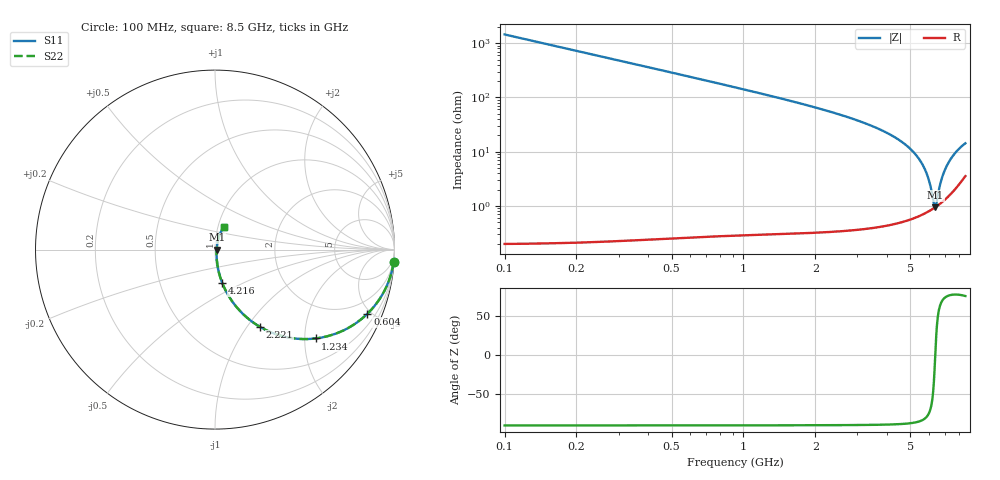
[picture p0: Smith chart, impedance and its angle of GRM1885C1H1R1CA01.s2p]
!Murata Part Number: GRM1885C1H1R1CA01
!These Parameters are Measured in Series Mode Connection
!Data Generated on Mar 30, 2021
!  o--ll--o
!Port1  Port2
!  o------o
!Operation Temp=25[degC], DC Bias Voltage=0[V]
!Freq. Start=100[MHz] Stop=9[GHz] 401[Steps]
# Hz S RI R 50
!Freq.(Hz) S11(Real) S11(Imag) S21(Real) S21(Imag) S12(Real) S12(Imag) S22(Real) S22(Imag)
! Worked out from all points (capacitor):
!   401 points, 100 MHz to 8.5 GHz, reference 50 ohm
!   read as one part in series: C = 1.1 pF near 142 MHz
!   lowest |Z| = 947 mohm at 6.358 GHz (marker M1)
!   series resonance near 6.356 GHz, so ESL is about 570 pH
!   S11 on the Smith chart (normalised r, x): 100 MHz: 1, -29; 604 MHz: 1.01, -4.75; 1.234 GHz: 1.01, -2.26; 2.221 GHz: 1.01, -1.15; 4.216 GHz: 1.01, -0.39; 8.5 GHz: 1.07, +0.28
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1e8  0.9952 -0.0688  0.00477 0.0688  0.00477 0.0688  0.9952 -0.0688
2.05e8  0.9802 -0.139  0.0198 0.139  0.0198 0.139  0.9802 -0.139
3.1e8  0.9558 -0.2053  0.0442 0.2053  0.0442 0.2053  0.9558 -0.2053
6.04e8  0.849 -0.3575  0.151 0.3575  0.151 0.3575  0.849 -0.3575
8.77e8  0.7235 -0.4464  0.2765 0.4464  0.2765 0.4464  0.7235 -0.4464
1.234e9  0.5603 -0.495  0.4397 0.495  0.4397 0.495  0.5603 -0.495
1.507e9  0.4517 -0.496  0.5483 0.496  0.5483 0.496  0.4517 -0.496
2.221e9  0.2489 -0.4295  0.7511 0.4295  0.7511 0.4295  0.2489 -0.4295
2.914e9  0.1369 -0.3393  0.8631 0.3393  0.8631 0.3393  0.1369 -0.3393
4.216e9  0.0406 -0.1861  0.9594 0.1861  0.9594 0.1861  0.0406 -0.1861
4.3e9  0.0373 -0.1774  0.9627 0.1774  0.9627 0.1774  0.0373 -0.1774
5.14e9  0.0155 -0.0974  0.9845 0.0974  0.9845 0.0974  0.0155 -0.0974
5.707e9  0.00961 -0.0497  0.9904 0.0497  0.9904 0.0497  0.00961 -0.0497
5.98e9  0.00874 -0.0282  0.9913 0.0282  0.9913 0.0282  0.00874 -0.0282
6.274e9  0.00906 -0.00599  0.9909 0.00599  0.9909 0.00599  0.00906 -0.00599
6.358e9  0.00938 0.000169  0.9906 -0.000169  0.9906 -0.000169  0.00938 0.000169
6.421e9  0.00969 0.00474  0.9903 -0.00474  0.9903 -0.00474  0.00969 0.00474
6.589e9  0.0108 0.0167  0.9892 -0.0167  0.9892 -0.0167  0.0108 0.0167
6.736e9  0.012 0.0269  0.988 -0.0269  0.988 -0.0269  0.012 0.0269
7.114e9  0.0167 0.0522  0.9833 -0.0522  0.9833 -0.0522  0.0167 0.0522
7.723e9  0.0285 0.0892  0.9715 -0.0892  0.9715 -0.0892  0.0285 0.0892
8.5e9  0.0512 0.1269  0.9488 -0.1269  0.9488 -0.1269  0.0512 0.1269
